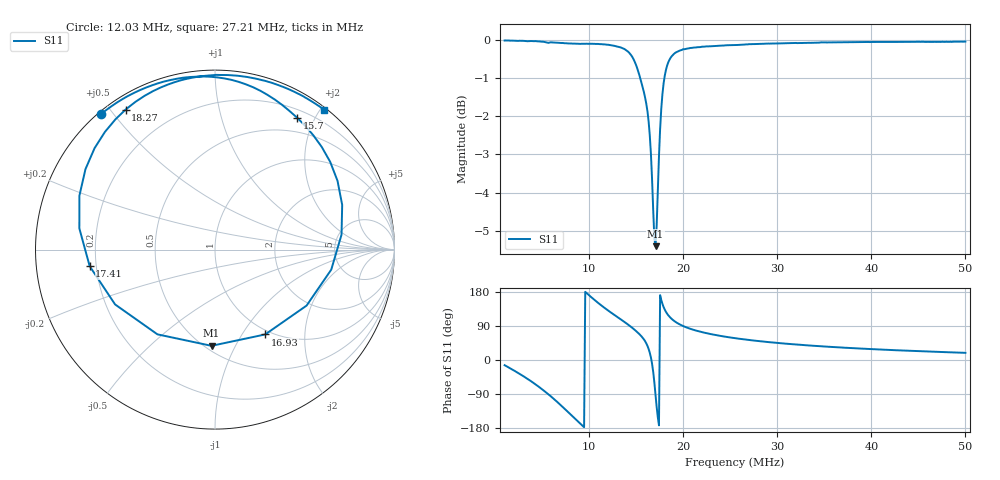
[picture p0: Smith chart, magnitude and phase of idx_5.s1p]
# HZ S RI R 50
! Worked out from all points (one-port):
!   401 points, 1 MHz to 50 MHz, reference 50 ohm
!   lowest |S11| = -5.4 dB at 17.05 MHz (marker M1), VSWR 3.31, Z = 26.8 - j40.4 ohm
!   |S11| at or under -10 dB: nowhere
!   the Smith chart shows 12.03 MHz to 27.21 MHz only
!   S11 on the Smith chart (normalised r, x): 12.03 MHz: 0.01, +0.46; 15.7 MHz: 0.30, +1.76; 16.93 MHz: 0.94, -1.27; 17.41 MHz: 0.17, -0.06; 18.27 MHz: 0.05, +0.55; 27.21 MHz: 0.03, +2.04
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1000000  0.971 -0.2362
2960000  0.74 -0.6703
4797500  0.28 -0.9562
6022500  -0.1404 -0.9838
7125000  -0.5365 -0.8343
8350000  -0.8711 -0.4706
9452500  -0.9883 -0.0448
1.0555e7  -0.921 0.3615
1.2025e7  -0.6373 0.7531
1.325e7  -0.3182 0.9264
1.45975e7  0.092 0.9456
1.57e7  0.4566 0.7356
1.60675e7  0.5947 0.572
1.6435e7  0.7086 0.2491
1.668e7  0.6478 -0.1114
1.6925e7  0.2796 -0.4727
1.70475e7  -0.0195 -0.5361
1.7415e7  -0.6981 -0.0926
1.77825e7  -0.7216 0.4486
1.82725e7  -0.4978 0.7804
1.9375e7  -0.124 0.9582
2.17025e7  0.2484 0.9476
2.55e7  0.5284 0.8319
2.7215e7  0.6065 0.7804
3.1625e7  0.7417 0.6584
3.775e7  0.8468 0.5212
4.3875e7  0.9058 0.4125
5e7  0.9424 0.3228
